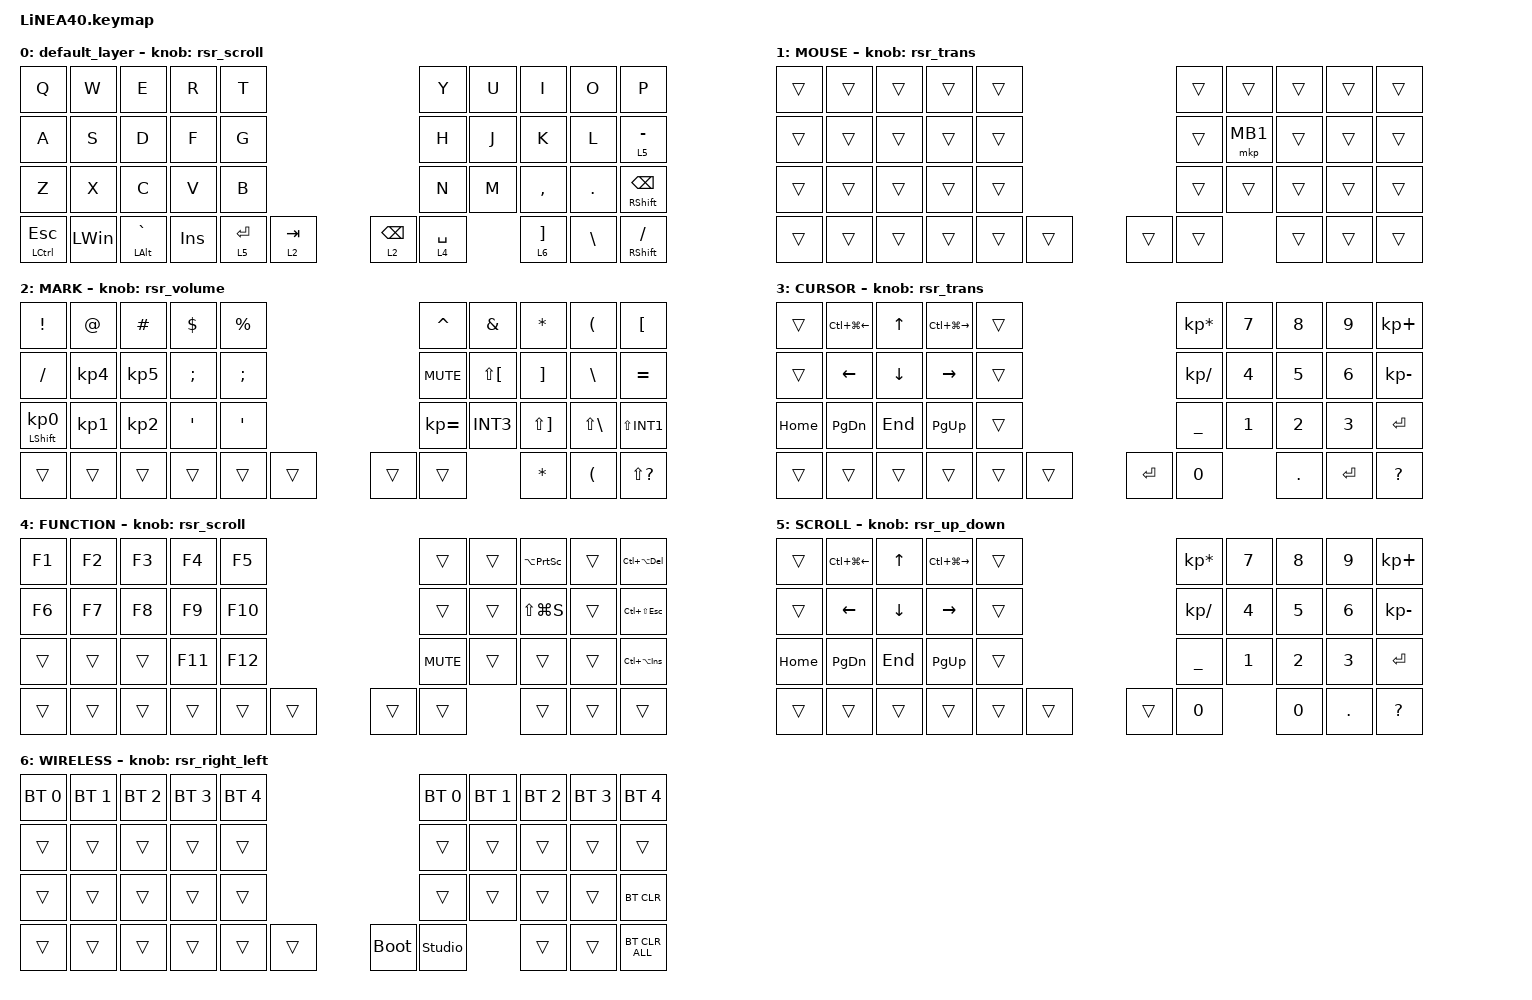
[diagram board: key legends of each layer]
#define ZMK_POINTING_DEFAULT_SCRL_VAL 150

#include <dt-bindings/zmk/input_transform.h>
#include <input/processors.dtsi>
#include <zephyr/dt-bindings/input/input-event-codes.h>
#include <behaviors.dtsi>
#include <dt-bindings/zmk/bt.h>
#include <dt-bindings/zmk/keys.h>
#include <dt-bindings/zmk/pointing.h>
// DYA Studio: ロータリーエンコーダ / マクロ / タップダンス
#include <behaviors/runtime-sensor-rotate.dtsi>
#include <behaviors/runtime_macro.dtsi>
#include <behaviors/runtime_tapdance.dtsi>

#define MOUSE 1
#define MARK 2
#define CURSOR 3
#define FUNCTION 4
#define SCROLL 5
#define WIRELESS 6

//mouse cursol

&mmv {
    delay-ms = <20>;
    trigger-period-ms = <5>;
    time-to-max-speed-ms = <100>;
    acceleration-exponent = <2>;
};

//mouse scroll

&msc {
    delay-ms = <3>;
    trigger-period-ms = <3>;
    time-to-max-speed-ms = <100>;
    acceleration-exponent = <0>;
};

/ {
    input_processors {
        zip_wheel_scaler: zip_wheel_scaler {
            compatible = "zmk,input-processor-scaler";
            #input-processor-cells = <2>;
            type = <INPUT_EV_REL>;
            codes = <INPUT_REL_WHEEL>;
            track-remainders;
        };
    };
};

&msc_input_listener {
    speed_up {
        layers = <FUNCTION>;
        input-processors = <&zip_wheel_scaler 3 1>; //スクロールを3倍速にする
    };
};

&trackball_listener {
    scroller {
        layers = <SCROLL>;
        input-processors =
            <&zip_xy_transform INPUT_TRANSFORM_Y_INVERT>,
            //スクロール方向を逆転
            <&zip_xy_to_scroll_mapper>,
            //スクロール速度・方向を DYA Studio から調整
            <&scroll_runtime_input_processor>;
    };
};

/ {
    // コンボは DYA Studio の「コンボ一覧」で編集できるランタイムコンボの既定値として定義。
    // Studio で変更しても「既定に戻す」でこの内容に戻せる。
    // (旧 zmk,combos と同じ内容。両方定義すると二重に発火するので zmk,combos は使わない)
    runtime_combo_defaults {
        compatible = "cormoran,runtime-combo-defaults";

        ZenkakuHankaku {
            bindings = <&kp GRAVE>;
            key-positions = <11 12>;
        };

        DeleteKey {
            bindings = <&kp DEL>;
            key-positions = <7 8>;
        };

        InsertKey {
            bindings = <&kp INS>;
            key-positions = <6 7>;
        };

        CenterClick {
            bindings = <&mkp MB3>;
            key-positions = <17 16>;
        };

        RightClick {
            bindings = <&mkp MB2>;
            key-positions = <18 17>;
        };

        PrevClick {
            bindings = <&mkp MB4>;
            key-positions = <27 28>;
        };

        ClickNext {
            bindings = <&mkp MB5>;
            key-positions = <26 27>;
        };
    };

    // ロータリーエンコーダ: DYA Studio のキーマップ画面でレイヤーごとに変更できる
    // ランタイムセンサーローテート。cw/ccw は旧 sensor-bindings の
    // 1番目(時計回り)/2番目(反時計回り) と同じ。未定義レイヤーは &rsr_trans (下位レイヤーへ透過)。
    behaviors {
        rsr_scroll: rsr_scroll {
            compatible = "zmk,behavior-runtime-sensor-rotate";
            #sensor-binding-cells = <0>;
            tap-ms = <20>;
            cw-binding = <&msc SCRL_DOWN>;
            ccw-binding = <&msc SCRL_UP>;
        };

        rsr_volume: rsr_volume {
            compatible = "zmk,behavior-runtime-sensor-rotate";
            #sensor-binding-cells = <0>;
            cw-binding = <&kp C_VOLUME_DOWN>;
            ccw-binding = <&kp C_VOLUME_UP>;
        };

        rsr_up_down: rsr_up_down {
            compatible = "zmk,behavior-runtime-sensor-rotate";
            #sensor-binding-cells = <0>;
            cw-binding = <&kp DOWN_ARROW>;
            ccw-binding = <&kp UP_ARROW>;
        };

        rsr_right_left: rsr_right_left {
            compatible = "zmk,behavior-runtime-sensor-rotate";
            #sensor-binding-cells = <0>;
            cw-binding = <&kp RIGHT_ARROW>;
            ccw-binding = <&kp LEFT_ARROW>;
        };
    };

    keymap {
        compatible = "zmk,keymap";

        default_layer {
            bindings = <
&kp Q          &kp W         &kp E               &kp R    &kp T                                      &kp Y        &kp U  &kp I                &kp O          &kp P
&kp A          &kp S         &kp D               &kp F    &kp G                                      &kp H        &kp J  &kp K                &kp L          &lt 5 MINUS
&kp Z          &kp X         &kp C               &kp V    &kp B                                      &kp N        &kp M  &kp COMMA            &kp DOT        &mt RIGHT_SHIFT BACKSPACE
&mt LCTRL ESC  &kp LEFT_WIN  &mt LEFT_ALT GRAVE  &kp INS  &lt 5 ENTER  &lt 2 TAB    &lt 2 BACKSPACE  &lt 4 SPACE         &lt 6 RIGHT_BRACKET  &kp BACKSLASH  &mt RIGHT_SHIFT SLASH
            >;

            sensor-bindings = <&rsr_scroll>;
        };

        //1

        MOUSE {
            bindings = <
&trans  &trans  &trans  &trans  &trans                    &trans  &trans    &trans  &trans  &trans
&trans  &trans  &trans  &trans  &trans                    &trans  &mkp MB1  &trans  &trans  &trans
&trans  &trans  &trans  &trans  &trans                    &trans  &trans    &trans  &trans  &trans
&trans  &trans  &trans  &trans  &trans  &trans    &trans  &trans            &trans  &trans  &trans
            >;

            sensor-bindings = <&rsr_trans>;
        };

        //2

        MARK {
            bindings = <
&kp EXCLAMATION             &kp AT           &kp HASH         &kp DOLLAR     &kp PERCENT                      &kp CARET     &kp AMPERSAND  &kp ASTERISK           &kp LEFT_PARENTHESIS  &kp LBKT
&kp SLASH                   &kp KP_NUMBER_4  &kp KP_NUMBER_5  &kp SEMICOLON  &kp SEMICOLON                    &kp C_MUTE    &kp LS(LBKT)   &kp RIGHT_BRACKET      &kp BACKSLASH         &kp EQUAL
&mt LEFT_SHIFT KP_NUMBER_0  &kp KP_NUMBER_1  &kp KP_NUMBER_2  &kp APOS       &kp SQT                          &kp KP_EQUAL  &kp INT3       &kp LS(RIGHT_BRACKET)  &kp LS(BACKSLASH)     &kp LS(INT1)
&trans                      &trans           &trans           &trans         &trans         &trans    &trans  &trans                       &kp ASTERISK           &kp LEFT_PARENTHESIS  &kp LS(QUESTION)
            >;

            sensor-bindings = <&rsr_volume>;
        };

        //3

        CURSOR {
            bindings = <
&trans    &kp LC(LG(LEFT_ARROW))  &kp UP_ARROW  &kp LC(LG(RIGHT_ARROW))  &trans                       &kp KP_MULTIPLY  &kp NUMBER_7  &kp NUMBER_8  &kp NUMBER_9  &kp KP_PLUS
&trans    &kp LEFT_ARROW          &kp DOWN      &kp RIGHT_ARROW          &trans                       &kp KP_SLASH     &kp NUMBER_4  &kp NUMBER_5  &kp NUMBER_6  &kp KP_MINUS
&kp HOME  &kp PAGE_DOWN           &kp END       &kp PAGE_UP              &trans                       &kp UNDER        &kp NUMBER_1  &kp NUMBER_2  &kp NUMBER_3  &kp ENTER
&trans    &trans                  &trans        &trans                   &trans  &trans    &kp ENTER  &kp NUMBER_0                   &kp DOT       &kp ENTER     &kp QUESTION
            >;

            sensor-bindings = <&rsr_trans>;
        };

        //4

        FUNCTION {
            bindings = <
&kp F1  &kp F2  &kp F3  &kp F4   &kp F5                     &trans      &trans  &kp LA(PRINTSCREEN)  &trans  &kp LC(LA(DELETE))
&kp F6  &kp F7  &kp F8  &kp F9   &kp F10                    &trans      &trans  &kp LS(LG(S))        &trans  &kp LC(LS(ESCAPE))
&trans  &trans  &trans  &kp F11  &kp F12                    &kp C_MUTE  &trans  &trans               &trans  &kp LC(LA(INS))
&trans  &trans  &trans  &trans   &trans   &trans    &trans  &trans              &trans               &trans  &trans
            >;

            sensor-bindings = <&rsr_scroll>;
        };

        //5

        SCROLL {
            bindings = <
&trans    &kp LC(LG(LEFT_ARROW))  &kp UP_ARROW  &kp LC(LG(RIGHT_ARROW))  &trans                    &kp KP_MULTIPLY  &kp NUMBER_7  &kp NUMBER_8  &kp NUMBER_9  &kp KP_PLUS
&trans    &kp LEFT_ARROW          &kp DOWN      &kp RIGHT_ARROW          &trans                    &kp KP_SLASH     &kp NUMBER_4  &kp NUMBER_5  &kp NUMBER_6  &kp KP_MINUS
&kp HOME  &kp PAGE_DOWN           &kp END       &kp PAGE_UP              &trans                    &kp UNDER        &kp NUMBER_1  &kp NUMBER_2  &kp NUMBER_3  &kp ENTER
&trans    &trans                  &trans        &trans                   &trans  &trans    &trans  &kp NUMBER_0                   &kp NUMBER_0  &kp DOT       &kp QUESTION
            >;

            sensor-bindings = <&rsr_up_down>;
        };

        //6

        WIRELESS {
            bindings = <
&bt BT_SEL 0  &bt BT_SEL 1  &bt BT_SEL 2  &bt BT_SEL 3  &bt BT_SEL 4                         &bt BT_SEL 0    &bt BT_SEL 1  &bt BT_SEL 2  &bt BT_SEL 3  &bt BT_SEL 4
&trans        &trans        &trans        &trans        &trans                               &trans          &trans        &trans        &trans        &trans
&trans        &trans        &trans        &trans        &trans                               &trans          &trans        &trans        &trans        &bt BT_CLR
&trans        &trans        &trans        &trans        &trans        &trans    &bootloader  &studio_unlock                &trans        &trans        &bt BT_CLR_ALL
            >;

            sensor-bindings = <&rsr_right_left>;
        };
    };
};
